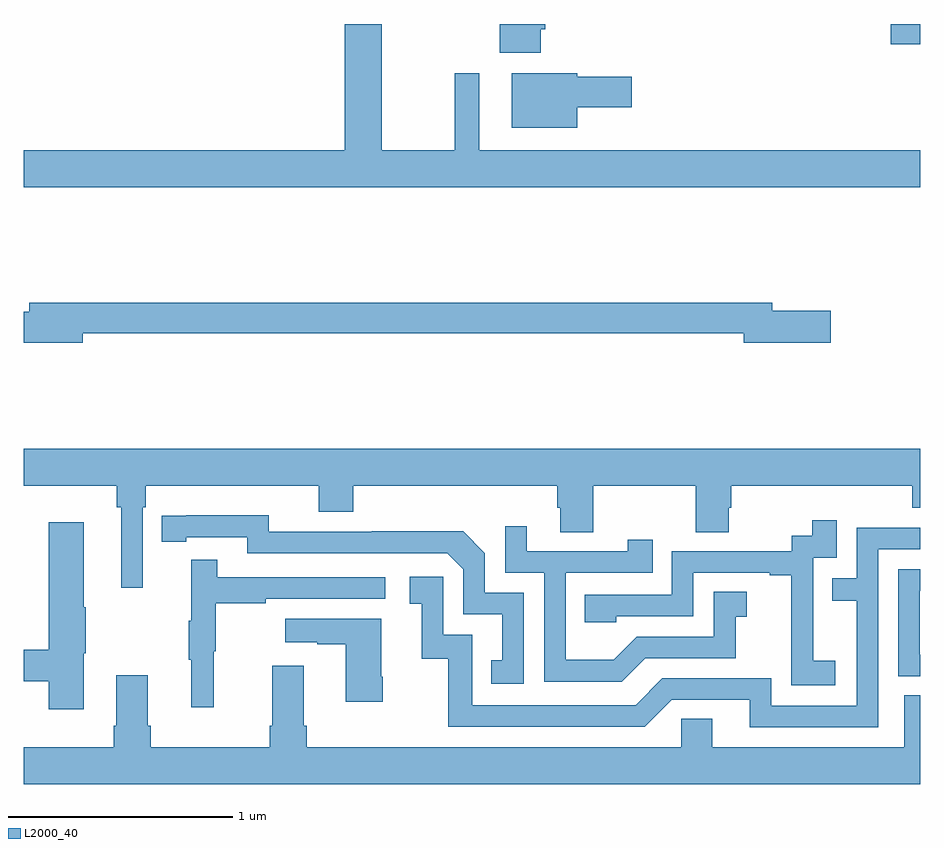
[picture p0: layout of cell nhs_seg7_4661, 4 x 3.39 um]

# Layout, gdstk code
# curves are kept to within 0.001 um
import gdstk
lib = gdstk.Library(unit=1e-6, precision=1e-09)
def R(c, l, rs):  # rectangles x0, y0, x1, y1
    for r in rs: c.add(gdstk.rectangle(r[:2], r[2:], *l))
def P(c, l, *ps):  # polygons
    for p in ps: c.add(gdstk.Polygon(p, *l))
L2000_40 = (2000, 40)

nhs_seg7_4661 = lib.new_cell('nhs_seg7_4661')
R(nhs_seg7_4661, L2000_40, [(408.87,1011.91,409,1012)])
P(nhs_seg7_4661, L2000_40, [(409,1011.436),(407.032,1011.436),(407.032,1011.781),(406.923,1011.781),(406.923,1011.436),(406.597,1011.436),(406.597,1012),(406.433,1012),(406.433,1011.436),(405,1011.436),(405,1011.272),(409,1011.272)],
  [(407.307,1011.976),(407.327,1011.976),(407.327,1012),(407.124,1012),(407.124,1011.872),(407.307,1011.872)],
  [(407.47,1011.629),(407.713,1011.629),(407.713,1011.764),(407.47,1011.764),(407.47,1011.781),(407.177,1011.781),(407.177,1011.536),(407.47,1011.536)],
  [(405.262,1010.62),(408.212,1010.62),(408.212,1010.578),(408.601,1010.578),(408.601,1010.72),(408.34,1010.72),(408.34,1010.756),(405.023,1010.756),(405.023,1010.715),(405,1010.715),(405,1010.578),(405.262,1010.578)],
  [(405.531,1009.844),(405.545,1009.844),(405.545,1009.94),(406.316,1009.94),(406.316,1009.823),(406.469,1009.823),(406.469,1009.94),(407.381,1009.94),(407.381,1009.842),(407.393,1009.842),(407.393,1009.732),(407.541,1009.732),(407.541,1009.94),(407.998,1009.94),(407.998,1009.732),(408.145,1009.732),(408.145,1009.842),(408.158,1009.842),(408.158,1009.94),(408.965,1009.94),(408.965,1009.841),(409,1009.841),(409,1010.104),(405,1010.104),(405,1009.94),(405.415,1009.94),(405.415,1009.844),(405.434,1009.844),(405.434,1009.485),(405.531,1009.485)],
  [(407.232,1009.461),(407.058,1009.461),(407.058,1009.638),(406.96,1009.736),(406.552,1009.736),(406.552,1009.734),(406.092,1009.734),(406.092,1009.807),(405.616,1009.806),(405.616,1009.69),(405.724,1009.69),(405.724,1009.71),(405.996,1009.71),(405.996,1009.638),(406.89,1009.638),(406.962,1009.566),(406.962,1009.365),(407.135,1009.365),(407.135,1009.161),(407.086,1009.161),(407.086,1009.056),(407.232,1009.056)],
  [(408.622,1009.159),(408.524,1009.159),(408.524,1009.388),(408.522,1009.388),(408.522,1009.617),(408.627,1009.617),(408.627,1009.786),(408.519,1009.786),(408.519,1009.716),(408.426,1009.716),(408.426,1009.647),(407.892,1009.647),(407.892,1009.452),(407.503,1009.452),(407.503,1009.329),(407.643,1009.329),(407.643,1009.356),(407.988,1009.356),(407.988,1009.551),(408.329,1009.551),(408.329,1009.539),(408.425,1009.539),(408.425,1009.255),(408.424,1009.255),(408.424,1009.049),(408.622,1009.049)],
  [(405.268,1009.191),(405.276,1009.191),(405.276,1009.397),(405.268,1009.397),(405.268,1009.777),(405.11,1009.777),(405.11,1009.208),(405,1009.208),(405,1009.066),(405.11,1009.066),(405.11,1008.942),(405.268,1008.942)],
  [(407.773,1009.17),(408.177,1009.17),(408.177,1009.355),(408.226,1009.355),(408.226,1009.465),(408.078,1009.465),(408.078,1009.266),(407.736,1009.266),(407.632,1009.162),(407.418,1009.162),(407.418,1009.551),(407.807,1009.551),(407.807,1009.699),(407.696,1009.699),(407.696,1009.647),(407.245,1009.647),(407.245,1009.759),(407.148,1009.759),(407.148,1009.551),(407.322,1009.551),(407.322,1009.065),(407.668,1009.065)],
  [(408.813,1009.656),(409,1009.656),(409,1009.752),(408.717,1009.752),(408.717,1009.527),(408.607,1009.527),(408.607,1009.426),(408.717,1009.426),(408.717,1008.957),(408.336,1008.957),(408.336,1009.08),(407.85,1009.08),(407.73,1008.96),(407.001,1008.96),(407.001,1009.275),(406.872,1009.275),(406.872,1009.534),(406.722,1009.534),(406.722,1009.413),(406.775,1009.413),(406.775,1009.167),(406.893,1009.167),(406.893,1008.864),(407.772,1008.864),(407.892,1008.984),(408.239,1008.984),(408.239,1008.861),(408.813,1008.861)],
  [(405.848,1009.2),(405.856,1009.2),(405.856,1009.414),(406.079,1009.414),(406.079,1009.434),(406.612,1009.434),(406.612,1009.53),(405.863,1009.53),(405.863,1009.609),(405.746,1009.609),(405.746,1009.337),(405.735,1009.337),(405.735,1009.163),(405.746,1009.163),(405.746,1008.951),(405.848,1008.951)],
  [(409,1009.185),(408.999,1009.185),(408.999,1009.47),(409,1009.47),(409,1009.566),(408.903,1009.566),(408.903,1009.089),(409,1009.089)],
  [(406.602,1009.087),(406.594,1009.087),(406.594,1009.345),(406.167,1009.345),(406.167,1009.241),(406.31,1009.241),(406.31,1009.231),(406.436,1009.231),(406.436,1008.975),(406.602,1008.975)],
  [(409,1009.004),(408.929,1009.004),(408.929,1008.772),(408.073,1008.772),(408.073,1008.899),(407.934,1008.899),(407.934,1008.772),(406.262,1008.772),(406.262,1008.868),(406.249,1008.868),(406.249,1009.135),(406.109,1009.135),(406.109,1008.868),(406.097,1008.868),(406.097,1008.772),(405.566,1008.772),(405.566,1008.868),(405.553,1008.868),(405.553,1009.093),(405.413,1009.093),(405.413,1008.868),(405.401,1008.868),(405.401,1008.772),(405,1008.772),(405,1008.608),(409,1008.608)])

lib.write_gds('nhs_seg7_4661.gds')
